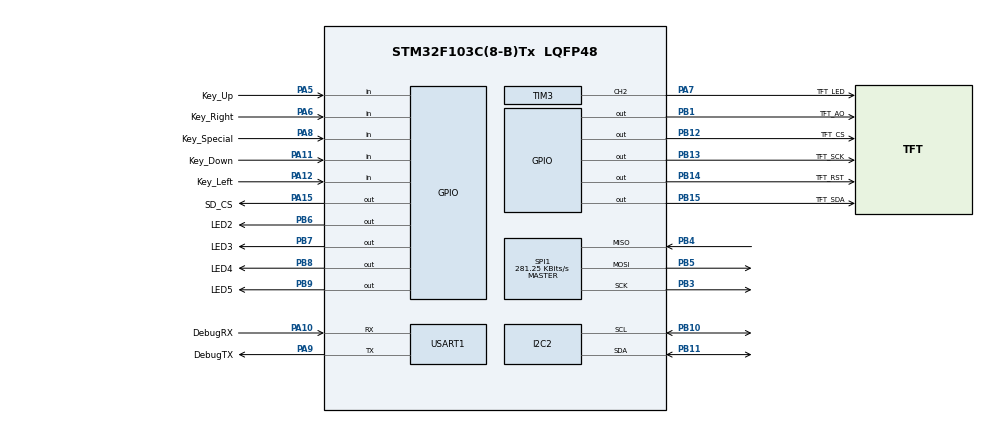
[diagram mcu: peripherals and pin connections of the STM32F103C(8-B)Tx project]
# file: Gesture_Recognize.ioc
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FATFS._MAX_LFN=12
FREERTOS.Queues01=KeyQueue,10,Key_Statu_Typedef,0,Dynamic,NULL,NULL;StopQueue,1,uint8_t,0,Dynamic,NULL,NULL
FREERTOS.Tasks01=defaultTask,-2,64,StartDefaultTask,Default,NULL,Dynamic,NULL,NULL;GUITask,-1,512,StartGUITask,Default,NULL,Dynamic,NULL,NULL;KeyTask,3,128,StartKeyTask,Default,NULL,Dynamic,NULL,NULL;AlarmTask,-2,64,StartAlarmTask,Default,NULL,Dynamic,NULL,NULL;StopTask,-2,128,StartStopTask,Default,NULL,Dynamic,NULL,NULL
FREERTOS.configENABLE_BACKWARD_COMPATIBILITY=0
FREERTOS.configIDLE_SHOULD_YIELD=0
FREERTOS.configMAX_TASK_NAME_LEN=12
FREERTOS.configMINIMAL_STACK_SIZE=64
FREERTOS.configQUEUE_REGISTRY_SIZE=0
FREERTOS.configTOTAL_HEAP_SIZE=5210
FREERTOS.configUSE_MUTEXES=1
FREERTOS.configUSE_TASK_NOTIFICATIONS=0
FREERTOS.configUSE_TICKLESS_IDLE=1
I2C2.I2C_Mode=I2C_Fast
Mcu.Family=STM32F1
Mcu.Name=STM32F103C(8-B)Tx
Mcu.Package=LQFP48
NVIC.PriorityGroup=NVIC_PRIORITYGROUP_4
NVIC.TIM4_IRQn=true\:0\:0\:false\:false\:true\:false\:false
NVIC.TimeBase=TIM4_IRQn
NVIC.TimeBaseIP=TIM4
PA10.GPIO_Label=DebugRX
PA10.Mode=Asynchronous
PA10.Signal=USART1_RX
PA11.GPIO_Label=Key_Down
PA11.GPIO_PuPd=GPIO_PULLDOWN
PA11.Signal=GPIO_Input
PA12.GPIO_Label=Key_Left
PA12.GPIO_PuPd=GPIO_PULLDOWN
PA12.Signal=GPIO_Input
PA13.Mode=Serial_Wire
PA13.Signal=SYS_JTMS-SWDIO
PA14.Mode=Serial_Wire
PA14.Signal=SYS_JTCK-SWCLK
PA15.GPIO_Label=SD_CS
PA15.Signal=GPIO_Output
PA5.GPIO_Label=Key_Up
PA5.GPIO_PuPd=GPIO_PULLDOWN
PA5.Signal=GPIO_Input
PA6.GPIO_Label=Key_Right
PA6.GPIO_PuPd=GPIO_PULLDOWN
PA6.Signal=GPIO_Input
PA7.GPIO_Label=TFT_LED
PA7.Signal=S_TIM3_CH2
PA8.GPIO_Label=Key_Special
PA8.GPIO_PuPd=GPIO_PULLDOWN
PA8.Signal=GPIO_Input
PA9.GPIO_Label=DebugTX
PA9.Mode=Asynchronous
PA9.Signal=USART1_TX
PB1.GPIO_Label=TFT_AO
PB1.GPIO_Speed=GPIO_SPEED_FREQ_HIGH
PB1.Signal=GPIO_Output
PB10.Mode=I2C
PB10.Signal=I2C2_SCL
PB11.Mode=I2C
PB11.Signal=I2C2_SDA
PB12.GPIO_Label=TFT_CS
PB12.GPIO_Speed=GPIO_SPEED_FREQ_HIGH
PB12.Signal=GPIO_Output
PB13.GPIO_Label=TFT_SCK
PB13.GPIO_Speed=GPIO_SPEED_FREQ_HIGH
PB13.Signal=GPIO_Output
PB14.GPIO_Label=TFT_RST
PB14.GPIO_Speed=GPIO_SPEED_FREQ_HIGH
PB14.Signal=GPIO_Output
PB15.GPIO_Label=TFT_SDA
PB15.GPIO_Speed=GPIO_SPEED_FREQ_HIGH
PB15.Signal=GPIO_Output
PB3.Mode=Full_Duplex_Master
PB3.Signal=SPI1_SCK
PB4.Mode=Full_Duplex_Master
PB4.Signal=SPI1_MISO
PB5.Mode=Full_Duplex_Master
PB5.Signal=SPI1_MOSI
PB6.GPIO_Label=LED2
PB6.GPIO_Speed=GPIO_SPEED_FREQ_HIGH
PB6.PinState=GPIO_PIN_SET
PB6.Signal=GPIO_Output
PB7.GPIO_Label=LED3
PB7.GPIO_Speed=GPIO_SPEED_FREQ_HIGH
PB7.PinState=GPIO_PIN_SET
PB7.Signal=GPIO_Output
PB8.GPIO_Label=LED4
PB8.GPIO_Speed=GPIO_SPEED_FREQ_HIGH
PB8.PinState=GPIO_PIN_SET
PB8.Signal=GPIO_Output
PB9.GPIO_Label=LED5
PB9.GPIO_Speed=GPIO_SPEED_FREQ_HIGH
PB9.PinState=GPIO_PIN_SET
PB9.Signal=GPIO_Output
PD0-OSC_IN.Mode=HSE-External-Oscillator
PD0-OSC_IN.Signal=RCC_OSC_IN
PD1-OSC_OUT.Mode=HSE-External-Oscillator
PD1-OSC_OUT.Signal=RCC_OSC_OUT
ProjectManager.HeapSize=0x400
ProjectManager.StackSize=0x600
ProjectManager.TargetToolchain=MDK-ARM V5
RCC.AHBFreq_Value=72000000
RCC.APB1CLKDivider=RCC_HCLK_DIV2
RCC.APB1Freq_Value=36000000
RCC.APB1TimFreq_Value=72000000
RCC.APB2Freq_Value=72000000
RCC.APB2TimFreq_Value=72000000
RCC.HCLKFreq_Value=72000000
RCC.HSE_VALUE=12000000
RCC.PLLMUL=RCC_PLL_MUL6
RCC.PLLSourceVirtual=RCC_PLLSOURCE_HSE
RCC.PREFETCH_ENABLE=1
RCC.SYSCLKFreq_VALUE=72000000
RCC.SYSCLKSource=RCC_SYSCLKSOURCE_PLLCLK
RCC.USBFreq_Value=72000000
SH.S_TIM3_CH2.0=TIM3_CH2,PWM Generation2 CH2
SPI1.BaudRatePrescaler=SPI_BAUDRATEPRESCALER_256
SPI1.CLKPhase=SPI_PHASE_2EDGE
SPI1.CLKPolarity=SPI_POLARITY_HIGH
SPI1.CalculateBaudRate=281.25 KBits/s
SPI1.Direction=SPI_DIRECTION_2LINES
SPI1.Mode=SPI_MODE_MASTER
SPI1.VirtualType=VM_MASTER
TIM3.Channel-PWM\ Generation2\ CH2=TIM_CHANNEL_2
TIM3.Period=11
TIM3.Prescaler=72-1
TIM3.Pulse-PWM\ Generation2\ CH2=11
USART1.VirtualMode=VM_ASYNC
VP_CRC_VS_CRC.Mode=CRC_Activate
VP_FATFS_VS_Generic.Mode=User_defined
VP_FREERTOS_VS_ENABLE.Mode=Enabled
VP_SYS_VS_tim4.Mode=TIM4
VP_TIM3_VS_ClockSourceINT.Mode=Internal
board=custom

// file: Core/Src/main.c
/* USER CODE BEGIN Header */
/**
  ******************************************************************************
  * @file           : main.c
  * @brief          : Main program body
  ******************************************************************************
  * This notice applies to any and all portions of this file
  * that are not between comment pairs USER CODE BEGIN and
  * USER CODE END. Other portions of this file, whether
  * inserted by the user or by software development tools
  * are owned by their respective copyright owners.
  *
  * Copyright (c) 2018 STMicroelectronics International N.V.
  * All rights reserved.
  *
  * Redistribution and use in source and binary forms, with or without
  * modification, are permitted, provided that the following conditions are met:
  *
  * 1. Redistribution of source code must retain the above copyright notice,
  *    this list of conditions and the following disclaimer.
  * 2. Redistributions in binary form must reproduce the above copyright notice,
  *    this list of conditions and the following disclaimer in the documentation
  *    and/or other materials provided with the distribution.
  * 3. Neither the name of STMicroelectronics nor the names of other
  *    contributors to this software may be used to endorse or promote products
  *    derived from this software without specific written permission.
  * 4. This software, including modifications and/or derivative works of this
  *    software, must execute solely and exclusively on microcontroller or
  *    microprocessor devices manufactured by or for STMicroelectronics.
  * 5. Redistribution and use of this software other than as permitted under
  *    this license is void and will automatically terminate your rights under
  *    this license.
  *
  * THIS SOFTWARE IS PROVIDED BY STMICROELECTRONICS AND CONTRIBUTORS "AS IS"
  * AND ANY EXPRESS, IMPLIED OR STATUTORY WARRANTIES, INCLUDING, BUT NOT
  * LIMITED TO, THE IMPLIED WARRANTIES OF MERCHANTABILITY, FITNESS FOR A
  * PARTICULAR PURPOSE AND NON-INFRINGEMENT OF THIRD PARTY INTELLECTUAL PROPERTY
  * RIGHTS ARE DISCLAIMED TO THE FULLEST EXTENT PERMITTED BY LAW. IN NO EVENT
  * SHALL STMICROELECTRONICS OR CONTRIBUTORS BE LIABLE FOR ANY DIRECT, INDIRECT,
  * INCIDENTAL, SPECIAL, EXEMPLARY, OR CONSEQUENTIAL DAMAGES (INCLUDING, BUT NOT
  * LIMITED TO, PROCUREMENT OF SUBSTITUTE GOODS OR SERVICES; LOSS OF USE, DATA,
  * OR PROFITS; OR BUSINESS INTERRUPTION) HOWEVER CAUSED AND ON ANY THEORY OF
  * LIABILITY, WHETHER IN CONTRACT, STRICT LIABILITY, OR TORT (INCLUDING
  * NEGLIGENCE OR OTHERWISE) ARISING IN ANY WAY OUT OF THE USE OF THIS SOFTWARE,
  * EVEN IF ADVISED OF THE POSSIBILITY OF SUCH DAMAGE.
  *
  ******************************************************************************
  */
/* USER CODE END Header */

#include "main.h"
#include "cmsis_os.h"
#include "crc.h"
#include "fatfs.h"
#include "i2c.h"
#include "spi.h"
#include "tim.h"
#include "usart.h"
#include "gpio.h"

void SystemClock_Config(void);
void MX_FREERTOS_Init(void);

int main(void)
{

  /* MCU Configuration--------------------------------------------------------*/

  /* Reset of all peripherals, Initializes the Flash interface and the Systick. */
  HAL_Init();

  /* Configure the system clock */
  SystemClock_Config();

  /* Initialize all configured peripherals */
  MX_GPIO_Init();
  MX_I2C2_Init();
  MX_TIM3_Init();
  MX_CRC_Init();
  MX_SPI1_Init();
  MX_USART1_UART_Init();

  /* Call init function for freertos objects (in freertos.c) */
  MX_FREERTOS_Init();

  /* Start scheduler */
  osKernelStart();

  /* We should never get here as control is now taken by the scheduler */

  /* Infinite loop */
  while (1)
  {

  }
}

void SystemClock_Config(void)
{
  LL_FLASH_SetLatency(LL_FLASH_LATENCY_2);

   if(LL_FLASH_GetLatency() != LL_FLASH_LATENCY_2)
  {
    Error_Handler();
  }
  LL_RCC_HSE_Enable();

   /* Wait till HSE is ready */
  while(LL_RCC_HSE_IsReady() != 1)
  {

  }
  LL_RCC_PLL_ConfigDomain_SYS(LL_RCC_PLLSOURCE_HSE_DIV_1, LL_RCC_PLL_MUL_6);
  LL_RCC_PLL_Enable();

   /* Wait till PLL is ready */
  while(LL_RCC_PLL_IsReady() != 1)
  {

  }
  LL_RCC_SetAHBPrescaler(LL_RCC_SYSCLK_DIV_1);
  LL_RCC_SetAPB1Prescaler(LL_RCC_APB1_DIV_2);
  LL_RCC_SetAPB2Prescaler(LL_RCC_APB2_DIV_1);
  LL_RCC_SetSysClkSource(LL_RCC_SYS_CLKSOURCE_PLL);

   /* Wait till System clock is ready */
  while(LL_RCC_GetSysClkSource() != LL_RCC_SYS_CLKSOURCE_STATUS_PLL)
  {

  }
  LL_Init1msTick(72000000);
  LL_SYSTICK_SetClkSource(LL_SYSTICK_CLKSOURCE_HCLK);
  LL_SetSystemCoreClock(72000000);
}

void HAL_TIM_PeriodElapsedCallback(TIM_HandleTypeDef *htim)
{
  if (htim->Instance == TIM4) {
    HAL_IncTick();
  }
}

void Error_Handler(void)
{
}

/************************ (C) COPYRIGHT STMicroelectronics *****END OF FILE****/

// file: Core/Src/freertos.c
/* USER CODE BEGIN Header */
/**
  ******************************************************************************
  * File Name          : freertos.c
  * Description        : Code for freertos applications
  ******************************************************************************
  * This notice applies to any and all portions of this file
  * that are not between comment pairs USER CODE BEGIN and
  * USER CODE END. Other portions of this file, whether
  * inserted by the user or by software development tools
  * are owned by their respective copyright owners.
  *
  * Copyright (c) 2018 STMicroelectronics International N.V.
  * All rights reserved.
  *
  * Redistribution and use in source and binary forms, with or without
  * modification, are permitted, provided that the following conditions are met:
  *
  * 1. Redistribution of source code must retain the above copyright notice,
  *    this list of conditions and the following disclaimer.
  * 2. Redistributions in binary form must reproduce the above copyright notice,
  *    this list of conditions and the following disclaimer in the documentation
  *    and/or other materials provided with the distribution.
  * 3. Neither the name of STMicroelectronics nor the names of other
  *    contributors to this software may be used to endorse or promote products
  *    derived from this software without specific written permission.
  * 4. This software, including modifications and/or derivative works of this
  *    software, must execute solely and exclusively on microcontroller or
  *    microprocessor devices manufactured by or for STMicroelectronics.
  * 5. Redistribution and use of this software other than as permitted under
  *    this license is void and will automatically terminate your rights under
  *    this license.
  *
  * THIS SOFTWARE IS PROVIDED BY STMICROELECTRONICS AND CONTRIBUTORS "AS IS"
  * AND ANY EXPRESS, IMPLIED OR STATUTORY WARRANTIES, INCLUDING, BUT NOT
  * LIMITED TO, THE IMPLIED WARRANTIES OF MERCHANTABILITY, FITNESS FOR A
  * PARTICULAR PURPOSE AND NON-INFRINGEMENT OF THIRD PARTY INTELLECTUAL PROPERTY
  * RIGHTS ARE DISCLAIMED TO THE FULLEST EXTENT PERMITTED BY LAW. IN NO EVENT
  * SHALL STMICROELECTRONICS OR CONTRIBUTORS BE LIABLE FOR ANY DIRECT, INDIRECT,
  * INCIDENTAL, SPECIAL, EXEMPLARY, OR CONSEQUENTIAL DAMAGES (INCLUDING, BUT NOT
  * LIMITED TO, PROCUREMENT OF SUBSTITUTE GOODS OR SERVICES; LOSS OF USE, DATA,
  * OR PROFITS; OR BUSINESS INTERRUPTION) HOWEVER CAUSED AND ON ANY THEORY OF
  * LIABILITY, WHETHER IN CONTRACT, STRICT LIABILITY, OR TORT (INCLUDING
  * NEGLIGENCE OR OTHERWISE) ARISING IN ANY WAY OUT OF THE USE OF THIS SOFTWARE,
  * EVEN IF ADVISED OF THE POSSIBILITY OF SUCH DAMAGE.
  *
  ******************************************************************************
  */
/* USER CODE END Header */

#include "FreeRTOS.h"
#include "task.h"
#include "main.h"
#include "cmsis_os.h"

/* USER CODE BEGIN Includes */
#include "gui.h"
#include "BSP_Key.h"
#include "BSP_LED.h"
/* USER CODE END Includes */

osThreadId defaultTaskHandle;
osThreadId GUITaskHandle;
osThreadId KeyTaskHandle;
osThreadId AlarmTaskHandle;
osThreadId StopTaskHandle;
osMessageQId KeyQueueHandle;
osMessageQId StopQueueHandle;

void StartDefaultTask(void const * argument);
void StartGUITask(void const * argument);
void StartKeyTask(void const * argument);
void StartAlarmTask(void const * argument);
void StartStopTask(void const * argument);

void MX_FREERTOS_Init(void); /* (MISRA C 2004 rule 8.1) */

/* Pre/Post sleep processing prototypes */
void PreSleepProcessing(uint32_t *ulExpectedIdleTime);
void PostSleepProcessing(uint32_t *ulExpectedIdleTime);

/* USER CODE BEGIN PREPOSTSLEEP */
__weak void PreSleepProcessing(uint32_t *ulExpectedIdleTime)
{
/* place for user code */
}

__weak void PostSleepProcessing(uint32_t *ulExpectedIdleTime)
{
/* place for user code */
}
/* USER CODE END PREPOSTSLEEP */

void MX_FREERTOS_Init(void) {

  /* Create the thread(s) */
  /* definition and creation of defaultTask */
  osThreadDef(defaultTask, StartDefaultTask, osPriorityLow, 0, 64);
  defaultTaskHandle = osThreadCreate(osThread(defaultTask), NULL);

  /* definition and creation of GUITask */
  osThreadDef(GUITask, StartGUITask, osPriorityBelowNormal, 0, 512);
  GUITaskHandle = osThreadCreate(osThread(GUITask), NULL);

  /* definition and creation of KeyTask */
  osThreadDef(KeyTask, StartKeyTask, osPriorityRealtime, 0, 128);
  KeyTaskHandle = osThreadCreate(osThread(KeyTask), NULL);

  /* definition and creation of AlarmTask */
  osThreadDef(AlarmTask, StartAlarmTask, osPriorityLow, 0, 64);
  AlarmTaskHandle = osThreadCreate(osThread(AlarmTask), NULL);

  /* definition and creation of StopTask */
  osThreadDef(StopTask, StartStopTask, osPriorityLow, 0, 128);
  StopTaskHandle = osThreadCreate(osThread(StopTask), NULL);

  /* Create the queue(s) */
  /* definition and creation of KeyQueue */
  osMessageQDef(KeyQueue, 10, Key_Statu_Typedef);
  KeyQueueHandle = osMessageCreate(osMessageQ(KeyQueue), NULL);

  /* definition and creation of StopQueue */
  osMessageQDef(StopQueue, 1, uint8_t);
  StopQueueHandle = osMessageCreate(osMessageQ(StopQueue), NULL);

}

void StartDefaultTask(void const * argument)
{

  /* USER CODE BEGIN StartDefaultTask */
  /* Infinite loop */
  for(;;)
  {
    LED2_ON;
    osDelay(100);
    LED2_OFF;

    LED3_ON;
    osDelay(100);
    LED3_OFF;

    LED4_ON;
    osDelay(100);
    LED4_OFF;

    LED5_ON;
    osDelay(100);
    LED5_OFF;

    LED4_ON;
    osDelay(100);
    LED4_OFF;

    LED3_ON;
    osDelay(100);
    LED3_OFF;
  }
  /* USER CODE END StartDefaultTask */
}

void StartGUITask(void const * argument)
{
  /* USER CODE BEGIN StartGUITask */
	 GUI_Init();
  GUI_SetBkColor(GUI_BLACK);
  GUI_SetColor(GUI_GREEN);
  GUI_Clear();
  /* Infinite loop */
  for(;;)
  {
    osDelay(1);
  }
  /* USER CODE END StartGUITask */
}

void StartKeyTask(void const * argument)
{
  /* USER CODE BEGIN StartKeyTask */
	 Key_Statu_Typedef Key;

  Key_init(&Key);
  /* Infinite loop */
  for(;;)
  {
    Scan_Key(&Key);
    if (Key.Count > 80)
    {
      if (Key.Key_Special_Flag)
      {
        Key.Key_Special_Flag = 2;
      }
      else if (Key.Key_Left_Flag)
      {
        Key.Key_Left_Flag = 2;
      }

      else if (Key.Key_Right_Flag)
      {
        Key.Key_Right_Flag = 2;
      }

      else if (Key.Key_Down_Flag)
      {
        Key.Key_Down_Flag = 2;
      }

      else if (Key.Key_Up_Flag)
      {
        Key.Key_Up_Flag = 2;
      }
      else if (Key.Key_WKUP_Flag)
      {
        Key.Key_WKUP_Flag = 2;
        osMessagePut(StopQueueHandle, (uint32_t)Key.Key_WKUP_Flag, 10);
      }
    }
    osMessagePut(KeyQueueHandle, (uint32_t)&Key, 0);
    osDelay(10);
  }
  /* USER CODE END StartKeyTask */
}

void StartAlarmTask(void const * argument)
{
  for(;;)
  {
    osDelay(1);
  }
}

void StartStopTask(void const * argument)
{
  for(;;)
  {
    osDelay(1);
  }
}

/************************ (C) COPYRIGHT STMicroelectronics *****END OF FILE****/
